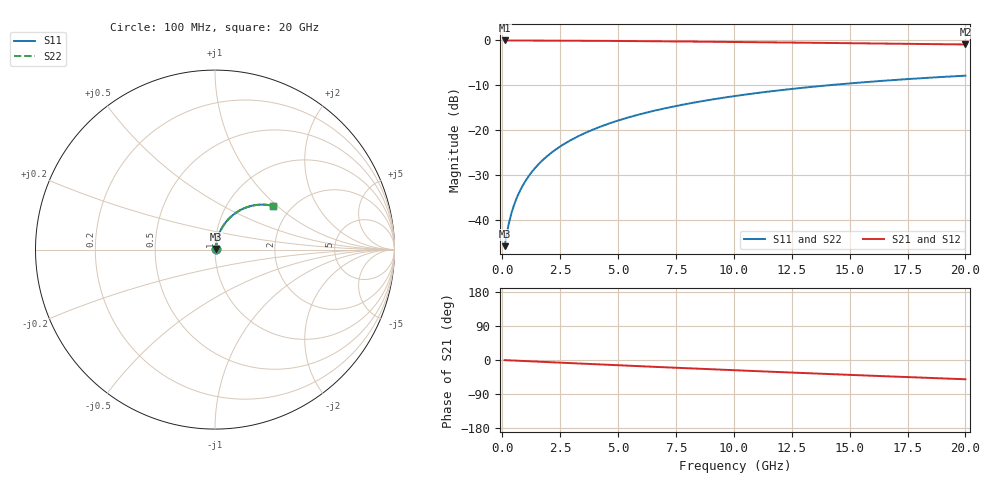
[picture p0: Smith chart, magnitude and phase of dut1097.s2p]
! Touchstone file exported from HFSS 2026.1.0
!  File:  C:/ffzhzh/LocalFiles/Ansys_Project_Files/temp_train_TMRDL_1097_1783161189_51560.aedt
!  Generated:  06:34:31 PM Jul  4, 2026
!  Design:  TMRDL
!  Project:  temp_train_TMRDL_1097_1783161189_51560
! Variables:
!  h_bsmrdl = 2um
!  h_ox = 20um
!  h_rdl = 5um
!  h_sub = 80um
!  h_tmrdl = 4.41um
!  h_tsv = 80um
!  h_via = 3um
!  l_bsmrdl = 300um
!  l_sub = 1211.73um
!  l_tmrdl = 811.73um
!  m_sub = 200um
!  pitch = 34.85um
!  r_tsv = 6um
!  s_tmrdl = 10um
!  w_bsmrdl = 18um
!  w_sub = 500um
!  w_tmrdl = 15.67um
!  x_tsv_center1 = 819.565um
!  x_tsv_center2 = 1137.565um
!  x_tsv_center3 = 1964.965um
!  x_tsv_center4 = 2282.965um
!  x_tsv_center5 = 3110.365um
!  x_tsv_center6 = 3428.365um
# GHz S MA R 50.000000
! Terminal data exported
! Port[1] = TM_RDL1_1_T1
! Port[2] = TM_RDL1_1_T2
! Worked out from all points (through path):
!   200 points, 100 MHz to 20 GHz, reference 50 ohm
!   highest |S21| = -0.04 dB at 100 MHz (marker M1); lowest = -0.9 dB at 20 GHz (marker M2)
!   group delay of S21, straight-line fit = 7.05 ps
!   lowest |S11| = -45.8 dB at 100 MHz (marker M3), VSWR 1.01, Z = 50.4 + j0.292 ohm
!   |S11| at or under -10 dB: start of sweep to 14.08 GHz
!   |S22| runs from -45.8 to -7.9 dB; largest |S21 - S12| = 1.5e-14
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0.1  0.005156 34.2  0.9957 -0.3  0.9957 -0.3  0.005156 34.2
! Gamma 0 0 0 0
! Port Impedance 50 0 50 0
0.2  0.007251 51.8  0.9956 -0.6  0.9956 -0.6  0.007251 51.8
0.3  0.009643 60.6  0.9954 -0.9  0.9954 -0.9  0.009643 60.6
0.4  0.01211 65.6  0.9952 -1.2  0.9952 -1.2  0.01211 65.6
0.5  0.0146 69.0  0.995 -1.4  0.995 -1.4  0.0146 69.0
0.6  0.01712 71.3  0.9949 -1.7  0.9949 -1.7  0.01712 71.3
0.8  0.0222 74.3  0.9946 -2.3  0.9946 -2.3  0.0222 74.3
1.1  0.02991 76.6  0.9942 -3.1  0.9942 -3.1  0.02991 76.6
1.3  0.03508 77.4  0.9939 -3.7  0.9939 -3.7  0.03508 77.4
1.6  0.04285 77.9  0.9934 -4.5  0.9934 -4.5  0.04285 77.9
2.1  0.05578 77.9  0.9924 -5.9  0.9924 -5.9  0.05578 77.9
2.7  0.07118 77.2  0.9909 -7.6  0.9909 -7.6  0.07118 77.2
3.5  0.09141 75.7  0.9885 -9.8  0.9885 -9.8  0.09141 75.6
4.2  0.1088 74.1  0.9861 -11.7  0.9861 -11.7  0.1088 74.1
5  0.1282 72.2  0.9829 -13.8  0.9829 -13.8  0.1282 72.2
5.9  0.1496 70.0  0.979 -16.3  0.979 -16.3  0.1496 70.0
6.8  0.1703 67.8  0.9748 -18.6  0.9748 -18.6  0.1703 67.8
8.3  0.2036 64.1  0.9673 -22.6  0.9673 -22.6  0.2036 64.1
10.1  0.2414 59.8  0.9574 -27.2  0.9574 -27.2  0.2414 59.7
13.4  0.3044 51.9  0.9381 -35.4  0.9381 -35.4  0.3044 51.9
16.7  0.3588 44.4  0.918 -43.3  0.918 -43.3  0.3587 44.3
20  0.4044 37.1  0.8987 -50.8  0.8987 -50.8  0.4044 37.0
